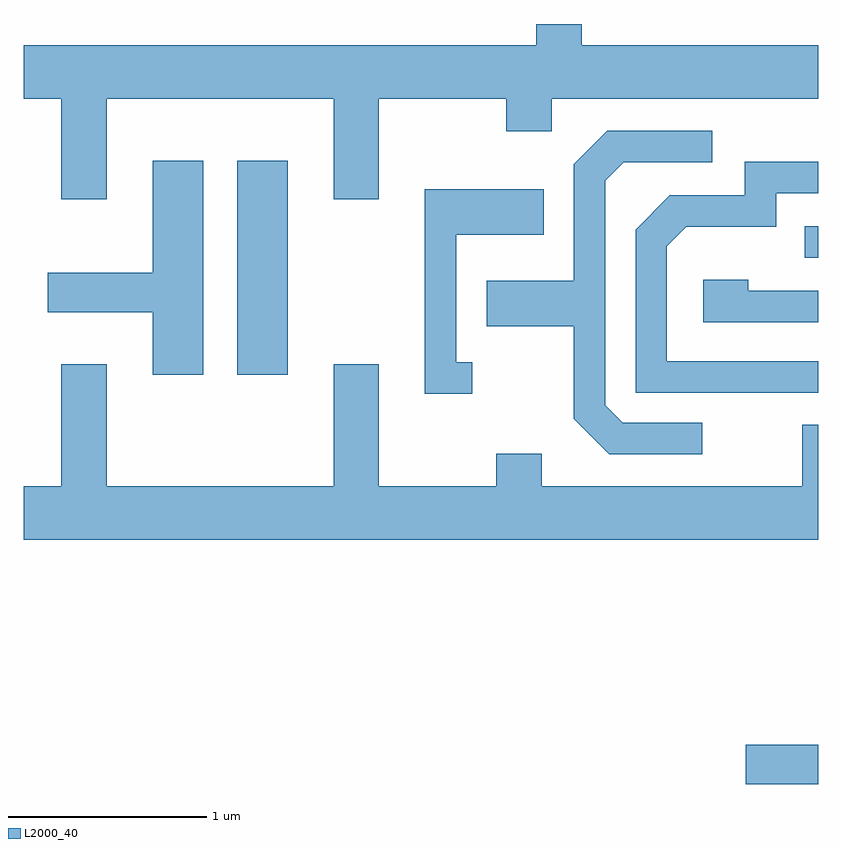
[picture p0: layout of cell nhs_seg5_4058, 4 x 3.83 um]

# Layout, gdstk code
import gdstk
lib = gdstk.Library(unit=1e-6, precision=1e-09)
def R(c, l, rs):  # rectangles x0, y0, x1, y1
    for r in rs: c.add(gdstk.rectangle(r[:2], r[2:], *l))
def P(c, l, *ps):  # polygons
    for p in ps: c.add(gdstk.Polygon(p, *l))
L2000_40 = (2000, 40)

nhs_seg5_4058 = lib.new_cell('nhs_seg5_4058')
R(nhs_seg5_4058, L2000_40, [(309.246,1442.246,309.611,1442.444), (306.686,1444.306,306.939,1445.384), (309.543,1444.896,309.611,1445.054)])
P(nhs_seg5_4058, L2000_40, [(306.029,1445.696),(307.171,1445.696),(307.171,1445.191),(307.399,1445.191),(307.399,1445.696),(308.041,1445.696),(308.041,1445.531),(308.269,1445.531),(308.269,1445.696),(309.611,1445.696),(309.611,1445.964),(308.419,1445.964),(308.419,1446.072),(308.191,1446.072),(308.191,1445.964),(305.611,1445.964),(305.611,1445.696),(305.801,1445.696),(305.801,1445.191),(306.029,1445.191)],
  [(309.028,1444.064),(308.627,1444.064),(308.539,1444.152),(308.539,1445.284),(308.632,1445.376),(309.078,1445.376),(309.078,1445.534),(308.549,1445.534),(308.381,1445.367),(308.381,1444.779),(307.941,1444.779),(307.941,1444.551),(308.381,1444.551),(308.381,1444.084),(308.559,1443.906),(309.028,1443.906)],
  [(306.514,1445.384),(306.261,1445.384),(306.261,1444.819),(305.731,1444.819),(305.731,1444.621),(306.261,1444.621),(306.261,1444.306),(306.514,1444.306)],
  [(309.611,1444.374),(308.849,1444.374),(308.849,1444.954),(308.947,1445.051),(309.399,1445.051),(309.399,1445.221),(309.611,1445.221),(309.611,1445.379),(309.241,1445.379),(309.241,1445.209),(308.864,1445.209),(308.691,1445.037),(308.691,1444.216),(309.611,1444.216)],
  [(307.868,1444.369),(307.789,1444.369),(307.789,1445.011),(308.229,1445.011),(308.229,1445.239),(307.631,1445.239),(307.631,1444.211),(307.868,1444.211)],
  [(309.611,1444.729),(309.259,1444.729),(309.259,1444.784),(309.031,1444.784),(309.031,1444.571),(309.611,1444.571)],
  [(309.611,1444.054),(309.531,1444.054),(309.531,1443.744),(308.219,1443.744),(308.219,1443.909),(307.991,1443.909),(307.991,1443.744),(307.399,1443.744),(307.399,1444.359),(307.171,1444.359),(307.171,1443.744),(306.029,1443.744),(306.029,1444.359),(305.801,1444.359),(305.801,1443.744),(305.611,1443.744),(305.611,1443.476),(309.611,1443.476)])

lib.write_gds('nhs_seg5_4058.gds')
